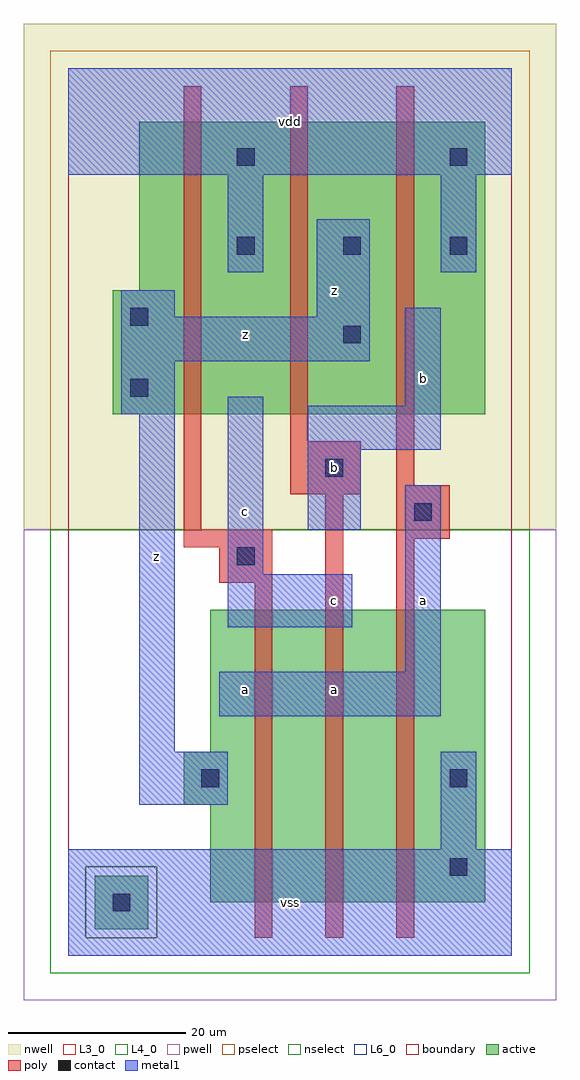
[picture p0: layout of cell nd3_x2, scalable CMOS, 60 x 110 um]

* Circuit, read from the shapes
.subckt nd3_x2 a b c vdd vss z
M1 n1 c z vss nfet w=33u l=2u
M2 n2 b n1 vss nfet w=33u l=2u
M3 vss a n2 vss nfet w=33u l=2u
M4 vdd c z n3 pfet w=33u l=2u
M5 z b vdd n3 pfet w=33u l=2u
M6 vdd a z n3 pfet w=33u l=2u
.ends

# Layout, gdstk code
import gdstk
lib = gdstk.Library(unit=1e-6, precision=1e-09)
def R(c, l, rs):  # rectangles x0, y0, x1, y1
    for r in rs: c.add(gdstk.rectangle(r[:2], r[2:], *l))
def A(c, l, x, y, w, h, nx, ny, dx, dy):  # array of equal rectangles
    R(c, l, [(x+i*dx, y+j*dy, x+i*dx+w, y+j*dy+h) for i in range(nx) for j in range(ny)])
L3_0 = (3, 0)
L4_0 = (4, 0)
L6_0 = (6, 0)
contact = (25, 0)
pwell = (41, 0)
nwell = (42, 0)
active = (43, 0)
pselect = (44, 0)
nselect = (45, 0)
poly = (46, 0)
metal1 = (49, 0)
boundary = (63, 0)

nd3_x2 = lib.new_cell('nd3_x2')
R(nd3_x2, L3_0, [(16,6,47,17), (13,17,47,23), (16,23,47,39)])
R(nd3_x2, L4_0, [(5,61,47,75), (8,75,47,94)])
R(nd3_x2, L6_0, [(3,3,9,9)])
A(nd3_x2, contact, 19, 79, 2, 2, 3, 1, 12, 0)
R(nd3_x2, contact, [(5,5,7,7), (43,9,45,11), (15,19,17,21), (43,19,45,21), (19,44,21,46), (39,49,41,51), (29,54,31,56), (7,63,9,65), (31,69,33,71), (7,71,9,73), (19,89,21,91), (43,89,45,91)])
R(nd3_x2, pwell, [(-5,-5,55,48)])
R(nd3_x2, nwell, [(-5,48,55,105)])
R(nd3_x2, active, [(3,3,9,9), (16,6,47,17), (13,17,47,23), (16,23,47,39), (5,61,47,75), (8,75,47,94)])
R(nd3_x2, pselect, [(2,2,10,10), (-2,48,52,102)])
R(nd3_x2, nselect, [(-2,-2,52,2), (-2,2,2,10), (10,2,52,10), (-2,10,52,48)])
R(nd3_x2, poly, [(21,2,23,42), (29,2,31,52), (37,2,39,47), (17,42,23,46), (13,46,23,48), (37,47,43,53), (13,48,15,98), (25,52,33,58), (37,53,39,98), (25,58,27,98)])
R(nd3_x2, metal1, [(0,0,50,12), (42,12,46,23), (8,17,18,23), (8,23,12,61), (17,27,42,32), (38,32,42,53), (18,37,32,43), (18,43,22,63), (27,48,33,57), (27,57,42,62), (6,61,12,67), (38,62,42,73), (6,67,34,72), (6,72,12,75), (28,72,34,83), (18,77,22,88), (42,77,46,88), (0,88,50,100)])
R(nd3_x2, boundary, [(0,0,50,100)])
nd3_x2.add(gdstk.Label('z', (10,45), layer=49, texttype=0))
nd3_x2.add(gdstk.Label('a', (20,30), layer=49, texttype=0))
nd3_x2.add(gdstk.Label('c', (20,50), layer=49, texttype=0))
nd3_x2.add(gdstk.Label('z', (20,70), layer=49, texttype=0))
nd3_x2.add(gdstk.Label('vss', (25,6), layer=49, texttype=0))
nd3_x2.add(gdstk.Label('c', (30,40), layer=49, texttype=0))
nd3_x2.add(gdstk.Label('a', (30,30), layer=49, texttype=0))
nd3_x2.add(gdstk.Label('b', (30,55), layer=49, texttype=0))
nd3_x2.add(gdstk.Label('z', (30,75), layer=49, texttype=0))
nd3_x2.add(gdstk.Label('vdd', (25,94), layer=49, texttype=0))
nd3_x2.add(gdstk.Label('a', (40,40), layer=49, texttype=0))
nd3_x2.add(gdstk.Label('b', (40,65), layer=49, texttype=0))

lib.write_gds('nd3_x2.gds')
